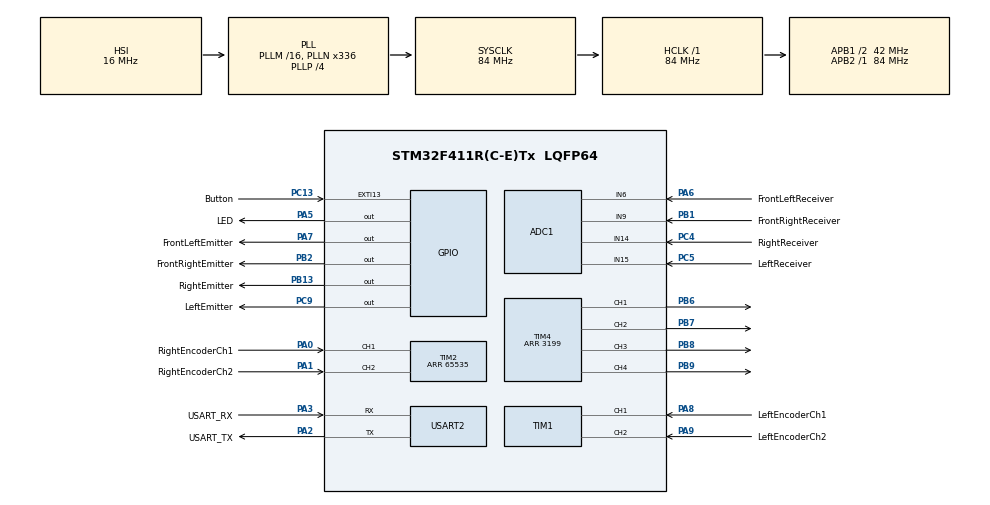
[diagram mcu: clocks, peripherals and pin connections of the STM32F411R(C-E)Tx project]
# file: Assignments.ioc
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ADC1.Channel-1\#ChannelRegularConversion=ADC_CHANNEL_15
ADC1.ContinuousConvMode=ENABLE
ADC1.DMAContinuousRequests=ENABLE
ADC1.NbrOfConversionFlag=1
ADC1.Rank-1\#ChannelRegularConversion=1
ADC1.SamplingTime-1\#ChannelRegularConversion=ADC_SAMPLETIME_3CYCLES
ADC1.master=1
Dma.ADC1.0.Direction=DMA_PERIPH_TO_MEMORY
Dma.ADC1.0.FIFOMode=DMA_FIFOMODE_DISABLE
Dma.ADC1.0.Instance=DMA2_Stream0
Dma.ADC1.0.MemDataAlignment=DMA_MDATAALIGN_HALFWORD
Dma.ADC1.0.MemInc=DMA_MINC_ENABLE
Dma.ADC1.0.Mode=DMA_CIRCULAR
Dma.ADC1.0.PeriphDataAlignment=DMA_PDATAALIGN_HALFWORD
Dma.ADC1.0.PeriphInc=DMA_PINC_DISABLE
Dma.ADC1.0.Priority=DMA_PRIORITY_LOW
Dma.Request0=ADC1
Mcu.Family=STM32F4
Mcu.Name=STM32F411R(C-E)Tx
Mcu.Package=LQFP64
NVIC.DMA2_Stream0_IRQn=true\:0\:0\:false\:false\:true\:false\:true\:true
NVIC.EXTI15_10_IRQn=true\:0\:0\:false\:false\:true\:true\:true\:true
NVIC.PriorityGroup=NVIC_PRIORITYGROUP_0
NVIC.TIM4_IRQn=true\:0\:0\:false\:false\:true\:true\:true\:true
PA0-WKUP.GPIO_Label=RightEncoderCh1
PA0-WKUP.Signal=S_TIM2_CH1_ETR
PA1.GPIO_Label=RightEncoderCh2
PA1.Signal=S_TIM2_CH2
PA13.GPIO_Label=TMS
PA13.Mode=Serial_Wire
PA13.Signal=SYS_JTMS-SWDIO
PA14.GPIO_Label=TCK
PA14.Mode=Serial_Wire
PA14.Signal=SYS_JTCK-SWCLK
PA2.GPIO_Label=USART_TX
PA2.Mode=Asynchronous
PA2.Signal=USART2_TX
PA3.GPIO_Label=USART_RX
PA3.Mode=Asynchronous
PA3.Signal=USART2_RX
PA5.GPIO_Label=LED
PA5.Signal=GPIO_Output
PA6.GPIO_Label=FrontLeftReceiver
PA6.Signal=ADCx_IN6
PA7.GPIO_Label=FrontLeftEmitter
PA7.Signal=GPIO_Output
PA8.GPIO_Label=LeftEncoderCh1  
PA8.Signal=S_TIM1_CH1
PA9.GPIO_Label=LeftEncoderCh2
PA9.Signal=S_TIM1_CH2
PB1.GPIO_Label=FrontRightReceiver
PB1.Signal=ADCx_IN9
PB13.GPIO_Label=RightEmitter
PB13.Signal=GPIO_Output
PB2.GPIO_Label=FrontRightEmitter
PB2.Signal=GPIO_Output
PB3.GPIO_Label=SWO
PB3.Signal=SYS_JTDO-SWO
PB6.Signal=S_TIM4_CH1
PB7.Signal=S_TIM4_CH2
PB8.Signal=S_TIM4_CH3
PB9.Signal=S_TIM4_CH4
PC13-ANTI_TAMP.GPIO_Label=Button
PC13-ANTI_TAMP.GPIO_ModeDefaultEXTI=GPIO_MODE_IT_RISING_FALLING
PC13-ANTI_TAMP.Signal=GPXTI13
PC14-OSC32_IN.Mode=LSE-External-Oscillator
PC14-OSC32_IN.Signal=RCC_OSC32_IN
PC15-OSC32_OUT.Mode=LSE-External-Oscillator
PC15-OSC32_OUT.Signal=RCC_OSC32_OUT
PC4.GPIO_Label=RightReceiver
PC4.Signal=ADCx_IN14
PC5.GPIO_Label=LeftReceiver
PC5.Signal=ADCx_IN15
PC9.GPIO_Label=LeftEmitter
PC9.Signal=GPIO_Output
PH0\ -\ OSC_IN.Mode=HSE-External-Clock-Source
PH0\ -\ OSC_IN.Signal=RCC_OSC_IN
PH1\ -\ OSC_OUT.Mode=HSE-External-Clock-Source
PH1\ -\ OSC_OUT.Signal=RCC_OSC_OUT
ProjectManager.HeapSize=0x200
ProjectManager.StackSize=0x400
ProjectManager.TargetToolchain=STM32CubeIDE
RCC.48MHZClocksFreq_Value=84000000
RCC.AHBFreq_Value=84000000
RCC.APB1CLKDivider=RCC_HCLK_DIV2
RCC.APB1Freq_Value=42000000
RCC.APB1TimFreq_Value=84000000
RCC.APB2Freq_Value=84000000
RCC.APB2TimFreq_Value=84000000
RCC.CortexFreq_Value=84000000
RCC.FLatency-AdvancedSettings=FLASH_LATENCY_2
RCC.HCLKFreq_Value=84000000
RCC.HSE_VALUE=8000000
RCC.HSI_VALUE=16000000
RCC.PLLN=336
RCC.PLLP=RCC_PLLP_DIV4
RCC.SYSCLKFreq_VALUE=84000000
RCC.SYSCLKSource=RCC_SYSCLKSOURCE_PLLCLK
RCC.VCOOutputFreq_Value=336000000
SH.ADCx_IN14.0=ADC1_IN14,IN14
SH.ADCx_IN15.0=ADC1_IN15,IN15
SH.ADCx_IN6.0=ADC1_IN6,IN6
SH.ADCx_IN9.0=ADC1_IN9,IN9
SH.S_TIM1_CH1.0=TIM1_CH1,Encoder_Interface
SH.S_TIM1_CH2.0=TIM1_CH2,Encoder_Interface
SH.S_TIM2_CH1_ETR.0=TIM2_CH1,Encoder_Interface
SH.S_TIM2_CH2.0=TIM2_CH2,Encoder_Interface
SH.S_TIM4_CH1.0=TIM4_CH1,PWM Generation1 CH1
SH.S_TIM4_CH2.0=TIM4_CH2,PWM Generation2 CH2
SH.S_TIM4_CH3.0=TIM4_CH3,PWM Generation3 CH3
SH.S_TIM4_CH4.0=TIM4_CH4,PWM Generation4 CH4
TIM1.EncoderMode=TIM_ENCODERMODE_TI12
TIM2.EncoderMode=TIM_ENCODERMODE_TI12
TIM2.Period=65535
TIM4.Channel-PWM\ Generation1\ CH1=TIM_CHANNEL_1
TIM4.Channel-PWM\ Generation2\ CH2=TIM_CHANNEL_2
TIM4.Channel-PWM\ Generation3\ CH3=TIM_CHANNEL_3
TIM4.Channel-PWM\ Generation4\ CH4=TIM_CHANNEL_4
TIM4.Period=3199
USART2.VirtualMode=VM_ASYNC
board=NUCLEO-F411RE

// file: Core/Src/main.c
/* USER CODE BEGIN Header */
/**
  ******************************************************************************
  * @file           : main.c
  * @brief          : Main program body
  ******************************************************************************
  * @attention
  *
  * Copyright (c) 2023 STMicroelectronics.
  * All rights reserved.
  *
  * This software is licensed under terms that can be found in the LICENSE file
  * in the root directory of this software component.
  * If no LICENSE file comes with this software, it is provided AS-IS.
  *
  ******************************************************************************
  */
/* USER CODE END Header */
#include "main.h"

/* USER CODE BEGIN Includes */
#include "encoders.h"
#include "motors.h"
#include "controller.h"
#include "delay.h"
#include "irs.h"
/* USER CODE END Includes */

/* USER CODE BEGIN PD */
#define WALL_IR_THRESHOLD_FR 430
#define WALL_IR_THRESHOLD_FL 430
#define WALL_IR_THRESHOLD_LEFT 1000
#define WALL_IR_THRESHOLD_RIGHT 1000
/* USER CODE END PD */

ADC_HandleTypeDef hadc1;
DMA_HandleTypeDef hdma_adc1;

TIM_HandleTypeDef htim1;
TIM_HandleTypeDef htim2;
TIM_HandleTypeDef htim4;

UART_HandleTypeDef huart2;

/* USER CODE BEGIN PV */
int16_t left_counts = 0;
int16_t right_counts = 0;
uint16_t ir_reading_left = 0;
uint16_t ir_reading_front_left = 0;
uint16_t ir_reading_front_right = 0;
uint16_t ir_reading_right = 0;
/* USER CODE END PV */

void SystemClock_Config(void);
static void MX_GPIO_Init(void);
static void MX_DMA_Init(void);
static void MX_USART2_UART_Init(void);
static void MX_TIM1_Init(void);
static void MX_TIM2_Init(void);
static void MX_TIM4_Init(void);
static void MX_ADC1_Init(void);
/* USER CODE BEGIN PFP */
ADC_HandleTypeDef* Get_HADC1_Ptr(void);
/* USER CODE END PFP */

int main(void)
{

  /* MCU Configuration--------------------------------------------------------*/

  /* Reset of all peripherals, Initializes the Flash interface and the Systick. */
  HAL_Init();

  /* USER CODE BEGIN Init */
  Delay_Init();
  /* USER CODE END Init */

  /* Configure the system clock */
  SystemClock_Config();

  /* Initialize all configured peripherals */
  MX_GPIO_Init();
  MX_DMA_Init();
  MX_USART2_UART_Init();
  MX_TIM1_Init();
  MX_TIM2_Init();
  MX_TIM4_Init();
  MX_ADC1_Init();
  /* USER CODE BEGIN 2 */
	HAL_TIM_Encoder_Start(&htim1, TIM_CHANNEL_ALL);
	HAL_TIM_Encoder_Start(&htim2, TIM_CHANNEL_ALL);
	HAL_TIM_PWM_Start(&htim4, TIM_CHANNEL_1);
	HAL_TIM_PWM_Start(&htim4, TIM_CHANNEL_2);
	HAL_TIM_PWM_Start(&htim4, TIM_CHANNEL_3);
	HAL_TIM_PWM_Start(&htim4, TIM_CHANNEL_4);
//	move(2);
//	move(2)

	/*
	//distance constant tuning
	move(0.25);
	move(3);
	turn(-1);
	move(1);
	turn(1);
	move(1);
	turn(1);
	move(1);
	turn(2);
	move(1);
	move(-0.5);
	turn(4);
	*/

	//start from wall
	move(0.25);

	// move(-1);

	//resetMotors(); //here so rat doesn't run off the table
	//setMotorLPWM(0.8);
  /* USER CODE END 2 */

  /* Infinite loop */
  /* USER CODE BEGIN WHILE */
  while (1)
  {
	  ir_reading_left = readLeftIR();
	  ir_reading_front_left = readFrontLeftIR();
	  ir_reading_front_right = readFrontRightIR();
	  ir_reading_right = readRightIR();
	  left_counts = getLeftEncoderCounts();
	  right_counts = getRightEncoderCounts();

	  //rat maze logic
	  if (ir_reading_front_left < WALL_IR_THRESHOLD_FL || ir_reading_front_right < WALL_IR_THRESHOLD_FR) { //nothing ahead
		  	  move(1);
	  }
	  else if ((ir_reading_front_left >= WALL_IR_THRESHOLD_LEFT || ir_reading_front_right >= WALL_IR_THRESHOLD_RIGHT)) {
		  if (ir_reading_right < WALL_IR_THRESHOLD_RIGHT) { //if right side is clear
			  turn(-1);
		  }
		  else if (ir_reading_left < WALL_IR_THRESHOLD_LEFT) { //if left side is clear
			  turn(1);
		  }
		  else {
			move(-1);
		  }
	  }

	  else {
		  move(-1);
	  }

    /* USER CODE END WHILE */

  }
}

void SystemClock_Config(void)
{
  RCC_OscInitTypeDef RCC_OscInitStruct = {0};
  RCC_ClkInitTypeDef RCC_ClkInitStruct = {0};

  /** Configure the main internal regulator output voltage
  */
  __HAL_RCC_PWR_CLK_ENABLE();
  __HAL_PWR_VOLTAGESCALING_CONFIG(PWR_REGULATOR_VOLTAGE_SCALE1);

  /** Initializes the RCC Oscillators according to the specified parameters
  * in the RCC_OscInitTypeDef structure.
  */
  RCC_OscInitStruct.OscillatorType = RCC_OSCILLATORTYPE_HSI;
  RCC_OscInitStruct.HSIState = RCC_HSI_ON;
  RCC_OscInitStruct.HSICalibrationValue = RCC_HSICALIBRATION_DEFAULT;
  RCC_OscInitStruct.PLL.PLLState = RCC_PLL_ON;
  RCC_OscInitStruct.PLL.PLLSource = RCC_PLLSOURCE_HSI;
  RCC_OscInitStruct.PLL.PLLM = 16;
  RCC_OscInitStruct.PLL.PLLN = 336;
  RCC_OscInitStruct.PLL.PLLP = RCC_PLLP_DIV4;
  RCC_OscInitStruct.PLL.PLLQ = 4;
  if (HAL_RCC_OscConfig(&RCC_OscInitStruct) != HAL_OK)
  {
    Error_Handler();
  }

  /** Initializes the CPU, AHB and APB buses clocks
  */
  RCC_ClkInitStruct.ClockType = RCC_CLOCKTYPE_HCLK|RCC_CLOCKTYPE_SYSCLK
                              |RCC_CLOCKTYPE_PCLK1|RCC_CLOCKTYPE_PCLK2;
  RCC_ClkInitStruct.SYSCLKSource = RCC_SYSCLKSOURCE_PLLCLK;
  RCC_ClkInitStruct.AHBCLKDivider = RCC_SYSCLK_DIV1;
  RCC_ClkInitStruct.APB1CLKDivider = RCC_HCLK_DIV2;
  RCC_ClkInitStruct.APB2CLKDivider = RCC_HCLK_DIV1;

  if (HAL_RCC_ClockConfig(&RCC_ClkInitStruct, FLASH_LATENCY_2) != HAL_OK)
  {
    Error_Handler();
  }
}

static void MX_ADC1_Init(void)
{

  ADC_ChannelConfTypeDef sConfig = {0};

  /** Configure the global features of the ADC (Clock, Resolution, Data Alignment and number of conversion)
  */
  hadc1.Instance = ADC1;
  hadc1.Init.ClockPrescaler = ADC_CLOCK_SYNC_PCLK_DIV4;
  hadc1.Init.Resolution = ADC_RESOLUTION_12B;
  hadc1.Init.ScanConvMode = DISABLE;
  hadc1.Init.ContinuousConvMode = ENABLE;
  hadc1.Init.DiscontinuousConvMode = DISABLE;
  hadc1.Init.ExternalTrigConvEdge = ADC_EXTERNALTRIGCONVEDGE_NONE;
  hadc1.Init.ExternalTrigConv = ADC_SOFTWARE_START;
  hadc1.Init.DataAlign = ADC_DATAALIGN_RIGHT;
  hadc1.Init.NbrOfConversion = 1;
  hadc1.Init.DMAContinuousRequests = ENABLE;
  hadc1.Init.EOCSelection = ADC_EOC_SINGLE_CONV;
  if (HAL_ADC_Init(&hadc1) != HAL_OK)
  {
    Error_Handler();
  }

  /** Configure for the selected ADC regular channel its corresponding rank in the sequencer and its sample time.
  */
  sConfig.Channel = ADC_CHANNEL_15;
  sConfig.Rank = 1;
  sConfig.SamplingTime = ADC_SAMPLETIME_3CYCLES;
  if (HAL_ADC_ConfigChannel(&hadc1, &sConfig) != HAL_OK)
  {
    Error_Handler();
  }

}

static void MX_TIM1_Init(void)
{

  TIM_Encoder_InitTypeDef sConfig = {0};
  TIM_MasterConfigTypeDef sMasterConfig = {0};

  htim1.Instance = TIM1;
  htim1.Init.Prescaler = 0;
  htim1.Init.CounterMode = TIM_COUNTERMODE_UP;
  htim1.Init.Period = 65535;
  htim1.Init.ClockDivision = TIM_CLOCKDIVISION_DIV1;
  htim1.Init.RepetitionCounter = 0;
  htim1.Init.AutoReloadPreload = TIM_AUTORELOAD_PRELOAD_DISABLE;
  sConfig.EncoderMode = TIM_ENCODERMODE_TI12;
  sConfig.IC1Polarity = TIM_ICPOLARITY_RISING;
  sConfig.IC1Selection = TIM_ICSELECTION_DIRECTTI;
  sConfig.IC1Prescaler = TIM_ICPSC_DIV1;
  sConfig.IC1Filter = 0;
  sConfig.IC2Polarity = TIM_ICPOLARITY_RISING;
  sConfig.IC2Selection = TIM_ICSELECTION_DIRECTTI;
  sConfig.IC2Prescaler = TIM_ICPSC_DIV1;
  sConfig.IC2Filter = 0;
  if (HAL_TIM_Encoder_Init(&htim1, &sConfig) != HAL_OK)
  {
    Error_Handler();
  }
  sMasterConfig.MasterOutputTrigger = TIM_TRGO_RESET;
  sMasterConfig.MasterSlaveMode = TIM_MASTERSLAVEMODE_DISABLE;
  if (HAL_TIMEx_MasterConfigSynchronization(&htim1, &sMasterConfig) != HAL_OK)
  {
    Error_Handler();
  }

}

static void MX_TIM2_Init(void)
{

  TIM_Encoder_InitTypeDef sConfig = {0};
  TIM_MasterConfigTypeDef sMasterConfig = {0};

  htim2.Instance = TIM2;
  htim2.Init.Prescaler = 0;
  htim2.Init.CounterMode = TIM_COUNTERMODE_UP;
  htim2.Init.Period = 65535;
  htim2.Init.ClockDivision = TIM_CLOCKDIVISION_DIV1;
  htim2.Init.AutoReloadPreload = TIM_AUTORELOAD_PRELOAD_DISABLE;
  sConfig.EncoderMode = TIM_ENCODERMODE_TI12;
  sConfig.IC1Polarity = TIM_ICPOLARITY_RISING;
  sConfig.IC1Selection = TIM_ICSELECTION_DIRECTTI;
  sConfig.IC1Prescaler = TIM_ICPSC_DIV1;
  sConfig.IC1Filter = 0;
  sConfig.IC2Polarity = TIM_ICPOLARITY_RISING;
  sConfig.IC2Selection = TIM_ICSELECTION_DIRECTTI;
  sConfig.IC2Prescaler = TIM_ICPSC_DIV1;
  sConfig.IC2Filter = 0;
  if (HAL_TIM_Encoder_Init(&htim2, &sConfig) != HAL_OK)
  {
    Error_Handler();
  }
  sMasterConfig.MasterOutputTrigger = TIM_TRGO_RESET;
  sMasterConfig.MasterSlaveMode = TIM_MASTERSLAVEMODE_DISABLE;
  if (HAL_TIMEx_MasterConfigSynchronization(&htim2, &sMasterConfig) != HAL_OK)
  {
    Error_Handler();
  }

}

static void MX_TIM4_Init(void)
{

  TIM_MasterConfigTypeDef sMasterConfig = {0};
  TIM_OC_InitTypeDef sConfigOC = {0};

  htim4.Instance = TIM4;
  htim4.Init.Prescaler = 0;
  htim4.Init.CounterMode = TIM_COUNTERMODE_UP;
  htim4.Init.Period = 3199;
  htim4.Init.ClockDivision = TIM_CLOCKDIVISION_DIV1;
  htim4.Init.AutoReloadPreload = TIM_AUTORELOAD_PRELOAD_DISABLE;
  if (HAL_TIM_PWM_Init(&htim4) != HAL_OK)
  {
    Error_Handler();
  }
  sMasterConfig.MasterOutputTrigger = TIM_TRGO_RESET;
  sMasterConfig.MasterSlaveMode = TIM_MASTERSLAVEMODE_DISABLE;
  if (HAL_TIMEx_MasterConfigSynchronization(&htim4, &sMasterConfig) != HAL_OK)
  {
    Error_Handler();
  }
  sConfigOC.OCMode = TIM_OCMODE_PWM1;
  sConfigOC.Pulse = 0;
  sConfigOC.OCPolarity = TIM_OCPOLARITY_HIGH;
  sConfigOC.OCFastMode = TIM_OCFAST_DISABLE;
  if (HAL_TIM_PWM_ConfigChannel(&htim4, &sConfigOC, TIM_CHANNEL_1) != HAL_OK)
  {
    Error_Handler();
  }
  if (HAL_TIM_PWM_ConfigChannel(&htim4, &sConfigOC, TIM_CHANNEL_2) != HAL_OK)
  {
    Error_Handler();
  }
  if (HAL_TIM_PWM_ConfigChannel(&htim4, &sConfigOC, TIM_CHANNEL_3) != HAL_OK)
  {
    Error_Handler();
  }
  if (HAL_TIM_PWM_ConfigChannel(&htim4, &sConfigOC, TIM_CHANNEL_4) != HAL_OK)
  {
    Error_Handler();
  }
  HAL_TIM_MspPostInit(&htim4);

}

static void MX_USART2_UART_Init(void)
{

  huart2.Instance = USART2;
  huart2.Init.BaudRate = 115200;
  huart2.Init.WordLength = UART_WORDLENGTH_8B;
  huart2.Init.StopBits = UART_STOPBITS_1;
  huart2.Init.Parity = UART_PARITY_NONE;
  huart2.Init.Mode = UART_MODE_TX_RX;
  huart2.Init.HwFlowCtl = UART_HWCONTROL_NONE;
  huart2.Init.OverSampling = UART_OVERSAMPLING_16;
  if (HAL_UART_Init(&huart2) != HAL_OK)
  {
    Error_Handler();
  }

}

static void MX_DMA_Init(void)
{

  /* DMA controller clock enable */
  __HAL_RCC_DMA2_CLK_ENABLE();

  /* DMA interrupt init */
  /* DMA2_Stream0_IRQn interrupt configuration */
  HAL_NVIC_SetPriority(DMA2_Stream0_IRQn, 0, 0);
  HAL_NVIC_EnableIRQ(DMA2_Stream0_IRQn);

}

static void MX_GPIO_Init(void)
{
  GPIO_InitTypeDef GPIO_InitStruct = {0};

  /* GPIO Ports Clock Enable */
  __HAL_RCC_GPIOC_CLK_ENABLE();
  __HAL_RCC_GPIOH_CLK_ENABLE();
  __HAL_RCC_GPIOA_CLK_ENABLE();
  __HAL_RCC_GPIOB_CLK_ENABLE();

  /*Configure GPIO pin Output Level */
  HAL_GPIO_WritePin(GPIOA, LED_Pin|FrontLeftEmitter_Pin, GPIO_PIN_RESET);

  /*Configure GPIO pin Output Level */
  HAL_GPIO_WritePin(GPIOB, FrontRightEmitter_Pin|RightEmitter_Pin, GPIO_PIN_RESET);

  /*Configure GPIO pin Output Level */
  HAL_GPIO_WritePin(LeftEmitter_GPIO_Port, LeftEmitter_Pin, GPIO_PIN_RESET);

  /*Configure GPIO pin : Button_Pin */
  GPIO_InitStruct.Pin = Button_Pin;
  GPIO_InitStruct.Mode = GPIO_MODE_IT_RISING_FALLING;
  GPIO_InitStruct.Pull = GPIO_NOPULL;
  HAL_GPIO_Init(Button_GPIO_Port, &GPIO_InitStruct);

  /*Configure GPIO pins : LED_Pin FrontLeftEmitter_Pin */
  GPIO_InitStruct.Pin = LED_Pin|FrontLeftEmitter_Pin;
  GPIO_InitStruct.Mode = GPIO_MODE_OUTPUT_PP;
  GPIO_InitStruct.Pull = GPIO_NOPULL;
  GPIO_InitStruct.Speed = GPIO_SPEED_FREQ_LOW;
  HAL_GPIO_Init(GPIOA, &GPIO_InitStruct);

  /*Configure GPIO pins : FrontRightEmitter_Pin RightEmitter_Pin */
  GPIO_InitStruct.Pin = FrontRightEmitter_Pin|RightEmitter_Pin;
  GPIO_InitStruct.Mode = GPIO_MODE_OUTPUT_PP;
  GPIO_InitStruct.Pull = GPIO_NOPULL;
  GPIO_InitStruct.Speed = GPIO_SPEED_FREQ_LOW;
  HAL_GPIO_Init(GPIOB, &GPIO_InitStruct);

  /*Configure GPIO pin : LeftEmitter_Pin */
  GPIO_InitStruct.Pin = LeftEmitter_Pin;
  GPIO_InitStruct.Mode = GPIO_MODE_OUTPUT_PP;
  GPIO_InitStruct.Pull = GPIO_NOPULL;
  GPIO_InitStruct.Speed = GPIO_SPEED_FREQ_LOW;
  HAL_GPIO_Init(LeftEmitter_GPIO_Port, &GPIO_InitStruct);

  /* EXTI interrupt init*/
  HAL_NVIC_SetPriority(EXTI15_10_IRQn, 0, 0);
  HAL_NVIC_EnableIRQ(EXTI15_10_IRQn);

}

/* USER CODE BEGIN 4 */
void HAL_GPIO_EXTI_Callback(uint16_t GPIO_PIN) {
	/* Assignment 1 Code
	if (GPIO_PIN == Button_Pin) {
		if (HAL_GPIO_ReadPin(Button_GPIO_Port, Button_Pin) == GPIO_PIN_RESET) {
			HAL_GPIO_WritePin(LED_GPIO_Port, LED_Pin, GPIO_PIN_SET);
		}
		else {
			HAL_GPIO_WritePin(LED_GPIO_Port, LED_Pin, GPIO_PIN_RESET);
		}
	}
	*/
}

ADC_HandleTypeDef* Get_HADC1_Ptr(void)
{
	return &hadc1;
}

/* USER CODE END 4 */

void Error_Handler(void)
{
  __disable_irq();
  while (1)
  {
  }
}
